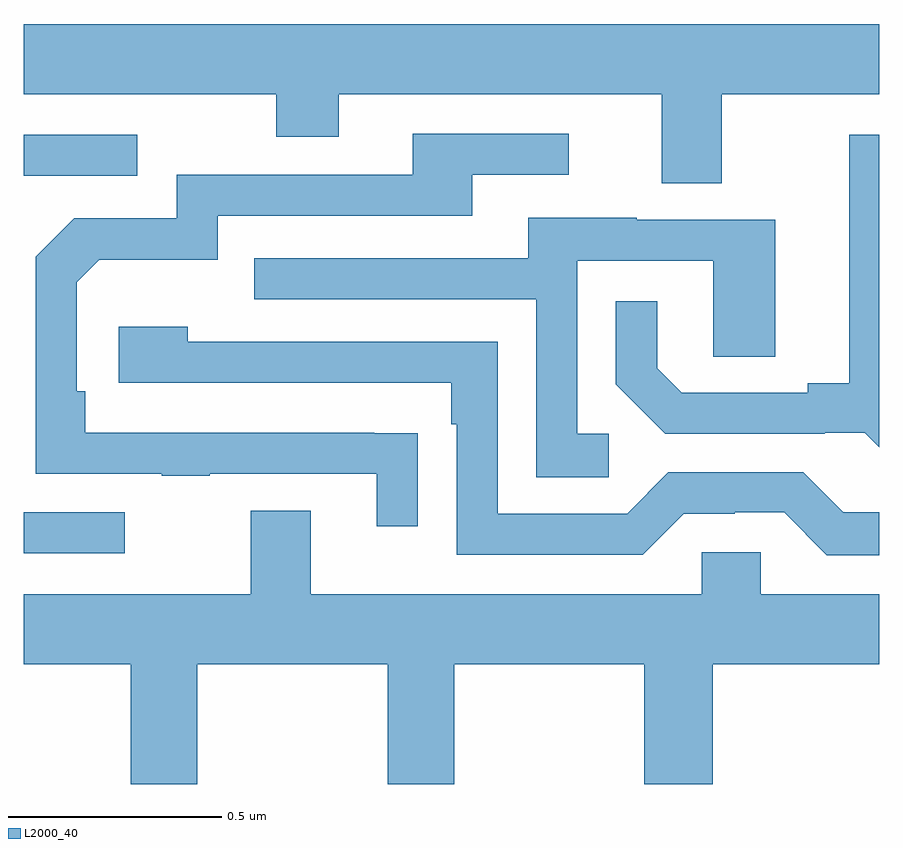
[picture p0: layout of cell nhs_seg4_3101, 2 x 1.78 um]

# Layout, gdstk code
import gdstk
lib = gdstk.Library(unit=1e-6, precision=1e-09)
def R(c, l, rs):  # rectangles x0, y0, x1, y1
    for r in rs: c.add(gdstk.rectangle(r[:2], r[2:], *l))
def P(c, l, *ps):  # polygons
    for p in ps: c.add(gdstk.Polygon(p, *l))
L2000_40 = (2000, 40)

nhs_seg4_3101 = lib.new_cell('nhs_seg4_3101')
R(nhs_seg4_3101, L2000_40, [(149,770.439,149.236,770.535), (149,771.321,149.266,771.417)])
P(nhs_seg4_3101, L2000_40, [(150.631,771.512),(151,771.512),(151,771.676),(149,771.676),(149,771.512),(149.59,771.512),(149.59,771.413),(149.737,771.413),(149.737,771.512),(150.491,771.512),(150.491,771.304),(150.631,771.304)],
  [(149.921,770.72),(149.819,770.72),(149.819,770.721),(149.144,770.721),(149.144,770.818),(149.124,770.818),(149.124,771.072),(149.177,771.125),(149.454,771.125),(149.454,771.228),(150.049,771.228),(150.049,771.324),(150.274,771.324),(150.274,771.42),(149.909,771.42),(149.909,771.324),(149.358,771.324),(149.358,771.222),(149.118,771.222),(149.028,771.132),(149.028,770.625),(149.323,770.625),(149.323,770.62),(149.435,770.62),(149.435,770.625),(149.825,770.625),(149.825,770.502),(149.921,770.502)],
  [(151,771.417),(150.929,771.417),(150.929,770.837),(150.833,770.837),(150.833,770.814),(150.538,770.814),(150.481,770.871),(150.481,771.028),(150.384,771.028),(150.384,770.834),(150.5,770.718),(150.872,770.718),(150.872,770.721),(150.966,770.721),(151,770.687)],
  [(150.367,770.718),(150.294,770.718),(150.294,771.123),(150.612,771.123),(150.612,770.899),(150.757,770.899),(150.757,771.219),(150.433,771.219),(150.433,771.223),(150.179,771.223),(150.179,771.129),(149.539,771.129),(149.539,771.033),(150.198,771.033),(150.198,770.617),(150.367,770.617)],
  [(151,770.535),(150.915,770.535),(150.822,770.628),(150.507,770.628),(150.411,770.532),(150.108,770.532),(150.108,770.934),(149.384,770.934),(149.384,770.968),(149.223,770.968),(149.223,770.838),(149.999,770.838),(149.999,770.741),(150.012,770.741),(150.012,770.436),(150.447,770.436),(150.543,770.532),(150.662,770.532),(150.662,770.535),(150.777,770.535),(150.877,770.435),(151,770.435)],
  [(150.585,770.442),(150.585,770.344),(149.671,770.344),(149.671,770.539),(149.531,770.539),(149.531,770.344),(149,770.344),(149,770.18),(149.251,770.18),(149.251,769.9),(149.406,769.9),(149.406,770.18),(149.851,770.18),(149.851,769.9),(150.006,769.9),(150.006,770.18),(150.451,770.18),(150.451,769.9),(150.611,769.9),(150.611,770.18),(151,770.18),(151,770.344),(150.723,770.344),(150.723,770.442)])

lib.write_gds('nhs_seg4_3101.gds')
